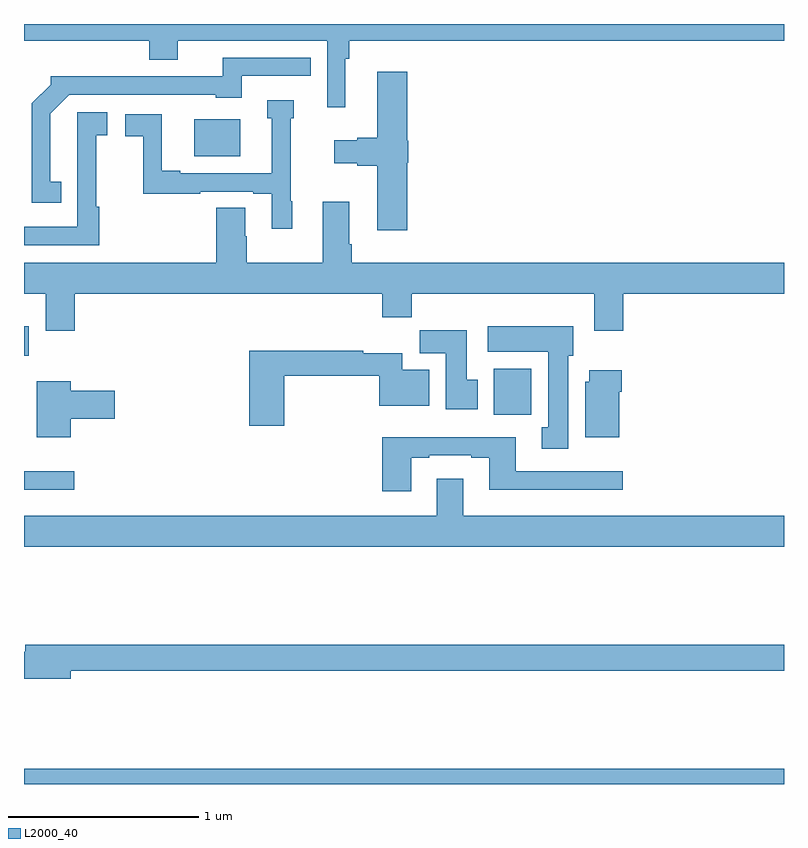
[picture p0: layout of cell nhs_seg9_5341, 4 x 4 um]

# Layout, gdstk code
import gdstk
lib = gdstk.Library(unit=1e-6, precision=1e-09)
def R(c, l, rs):  # rectangles x0, y0, x1, y1
    for r in rs: c.add(gdstk.rectangle(r[:2], r[2:], *l))
def P(c, l, *ps):  # polygons
    for p in ps: c.add(gdstk.Polygon(p, *l))
L2000_40 = (2000, 40)

nhs_seg9_5341 = lib.new_cell('nhs_seg9_5341')
R(nhs_seg9_5341, L2000_40, [(421,1200.5,425,1200.58), (421,1202.048,421.264,1202.145), (423.473,1202.444,423.67,1202.686), (421,1202.754,421.024,1202.908), (421.895,1203.803,422.137,1204)])
P(nhs_seg9_5341, L2000_40, [(422.692,1204.316),(422.711,1204.316),(422.711,1204.412),(425,1204.412),(425,1204.5),(421,1204.5),(421,1204.412),(421.658,1204.412),(421.658,1204.313),(421.81,1204.313),(421.81,1204.412),(422.595,1204.412),(422.595,1204.062),(422.692,1204.062)],
  [(421.196,1203.671),(421.138,1203.671),(421.138,1204.027),(421.239,1204.128),(422.01,1204.128),(422.01,1204.112),(422.146,1204.112),(422.146,1204.227),(422.51,1204.227),(422.51,1204.323),(422.047,1204.323),(422.047,1204.224),(421.574,1204.224),(421.574,1204.226),(421.14,1204.226),(421.14,1204.181),(421.041,1204.082),(421.041,1203.558),(421.196,1203.558)],
  [(423.017,1203.771),(423.022,1203.771),(423.022,1203.885),(423.017,1203.885),(423.017,1204.249),(422.858,1204.249),(422.858,1203.902),(422.754,1203.902),(422.754,1203.889),(422.634,1203.889),(422.634,1203.767),(422.754,1203.767),(422.754,1203.755),(422.858,1203.755),(422.858,1203.414),(423.017,1203.414)],
  [(422.413,1203.567),(422.403,1203.567),(422.403,1204.005),(422.419,1204.005),(422.419,1204.099),(422.279,1204.099),(422.279,1204.005),(422.303,1204.005),(422.303,1203.714),(421.822,1203.714),(421.822,1203.727),(421.726,1203.727),(421.726,1204.026),(421.533,1204.026),(421.533,1203.91),(421.627,1203.91),(421.627,1203.606),(421.928,1203.606),(421.928,1203.618),(422.207,1203.618),(422.207,1203.606),(422.303,1203.606),(422.303,1203.423),(422.413,1203.423)],
  [(421.397,1203.539),(421.38,1203.539),(421.38,1203.915),(421.438,1203.915),(421.438,1204.036),(421.28,1204.036),(421.28,1203.76),(421.281,1203.76),(421.281,1203.432),(421,1203.432),(421,1203.336),(421.397,1203.336)],
  [(421.268,1203.08),(422.885,1203.08),(422.885,1202.956),(423.041,1202.956),(423.041,1203.08),(424.001,1203.08),(424.001,1202.886),(424.154,1202.886),(424.154,1203.08),(425,1203.08),(425,1203.244),(422.726,1203.244),(422.726,1203.34),(422.713,1203.34),(422.713,1203.565),(422.573,1203.565),(422.573,1203.244),(422.172,1203.244),(422.172,1203.383),(422.164,1203.383),(422.164,1203.533),(422.012,1203.533),(422.012,1203.244),(421,1203.244),(421,1203.08),(421.115,1203.08),(421.115,1202.886),(421.268,1202.886)],
  [(423.865,1202.754),(423.892,1202.754),(423.892,1202.908),(423.441,1202.908),(423.441,1202.774),(423.758,1202.774),(423.758,1202.378),(423.725,1202.378),(423.725,1202.265),(423.865,1202.265)],
  [(423.388,1202.628),(423.331,1202.628),(423.331,1202.887),(423.082,1202.887),(423.082,1202.768),(423.221,1202.768),(423.221,1202.472),(423.388,1202.472)],
  [(422.369,1202.65),(422.87,1202.65),(422.87,1202.492),(423.133,1202.492),(423.133,1202.68),(422.992,1202.68),(422.992,1202.768),(422.786,1202.768),(422.786,1202.779),(422.186,1202.779),(422.186,1202.385),(422.369,1202.385)],
  [(424.132,1202.564),(424.145,1202.564),(424.145,1202.677),(423.974,1202.677),(423.974,1202.616),(423.953,1202.616),(423.953,1202.324),(424.132,1202.324)],
  [(421.246,1202.423),(421.477,1202.423),(421.477,1202.57),(421.246,1202.57),(421.246,1202.62),(421.067,1202.62),(421.067,1202.324),(421.246,1202.324)],
  [(423.037,1202.217),(423.133,1202.217),(423.133,1202.229),(423.353,1202.229),(423.353,1202.217),(423.449,1202.217),(423.449,1202.048),(424.15,1202.048),(424.15,1202.145),(423.589,1202.145),(423.589,1202.326),(422.885,1202.326),(422.885,1202.04),(423.037,1202.04)],
  [(425,1201.912),(423.313,1201.912),(423.313,1202.107),(423.173,1202.107),(423.173,1201.912),(421,1201.912),(421,1201.748),(425,1201.748)],
  [(421.246,1201.096),(425,1201.096),(425,1201.232),(421.007,1201.232),(421.007,1201.196),(421,1201.196),(421,1201.054),(421.246,1201.054)])

lib.write_gds('nhs_seg9_5341.gds')
